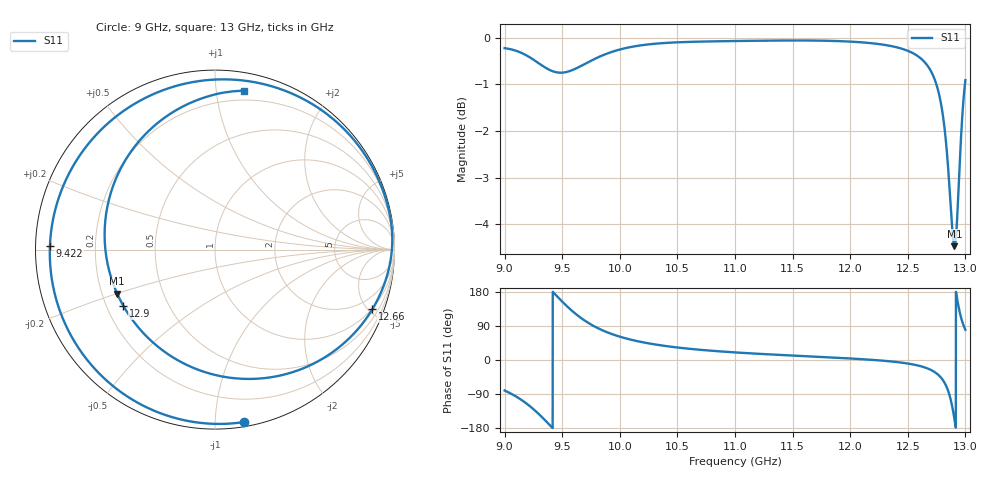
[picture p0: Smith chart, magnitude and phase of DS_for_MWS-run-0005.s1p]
! TOUCHSTONE file generated by CST DESIGN STUDIO
! Date and time: Tue Feb  4 17:43:48 2025
! Project name: C:\Work\MatlabApps\UnitCellOptimizationMatlab\CST\unitcell.cst
! Tree item: Tasks\Sweep1\SPara1\S-Parameters
! Header version: 2024
! Port assignment regex: !\s*Touchstone port\s*([0-9]+)\s*=\s*(CST MWS port|CST DES external port|CST DES block port)\s*(.+)\s* \(\"(.*)\"\)(\s*mode\s*([0-9]+))?.*
! Touchstone port assignment:
! Touchstone port 1 = CST DES external port 1 ("")
# GHz S MA R 50
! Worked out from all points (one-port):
!   4001 points, 9 GHz to 13 GHz, reference 50 ohm
!   lowest |S11| = -4.5 dB at 12.9 GHz (marker M1), VSWR 3.97, Z = 13.1 - j10 ohm
!   |S11| at or under -10 dB: nowhere
!   S11 on the Smith chart (normalised r, x): 9 GHz: 0.03, -1.18; 9.422 GHz: 0.04, +0.01; 12.66 GHz: 0.97, -5.30; 12.9 GHz: 0.27, -0.26; 13 GHz: 0.13, +1.19
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9  0.9743 -80.5
9.123  0.9657 -100.7
9.221  0.9521 -122.3
9.334  0.9319 -153.6
9.422  0.9199 178.7
9.5  0.9171 154.1
9.597  0.9239 126.7
9.698  0.9372 103.5
9.845  0.9565 79.0
10  0.971 61.6
10.216  0.9823 45.8
10.5  0.9884 33.0
11  0.9916 20.0
11.5  0.9929 11.7
12  0.9901 4.0
12.5  0.9679 -9.3
12.658  0.9376 -20.7
12.741  0.8965 -33.4
12.799  0.8343 -50.6
12.83  0.7763 -66.4
12.86  0.6966 -90.6
12.881  0.6353 -116.0
12.901  0.5991 -148.5
12.905  0.5977 -155.8
12.93  0.6457 158.3
12.957  0.7604 118.3
12.977  0.8375 97.2
13  0.9002 79.8
